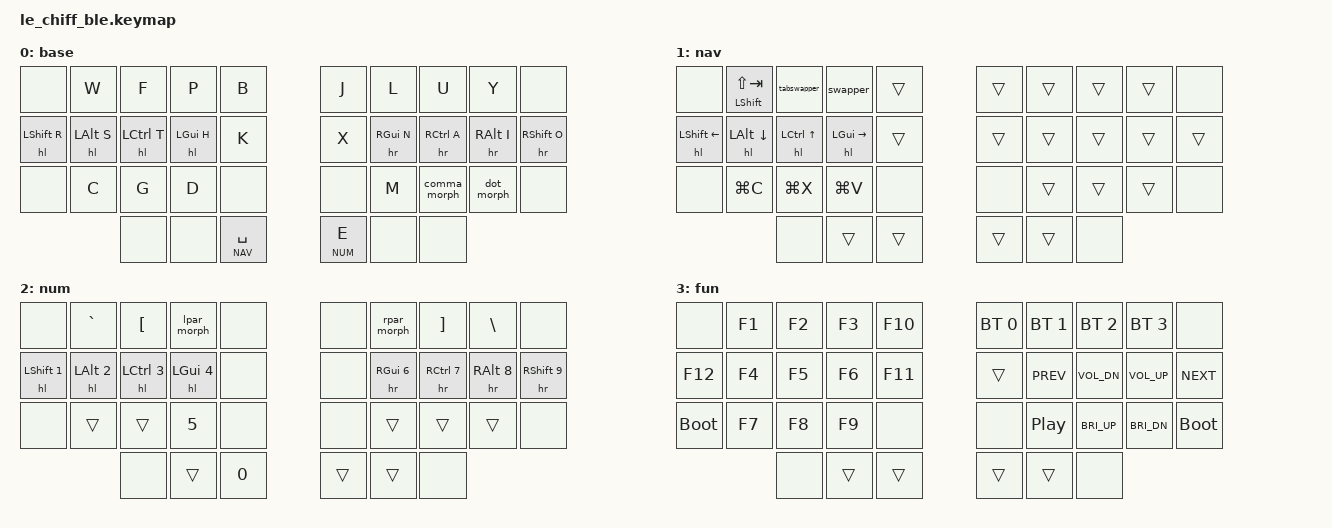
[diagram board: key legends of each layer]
// Copyright (c) 2022 The ZMK Contributors
// SPDX-License-Identifier: MIT

#include <behaviors.dtsi>
#include <dt-bindings/zmk/bt.h>
#include <dt-bindings/zmk/keys.h>
#include <dt-bindings/zmk/outputs.h>

#include <behaviors/num_word.dtsi>

#include "zmk-helpers/helper.h"
#include "zmk-helpers/key-labels/34.h"

#define XXX &none
#define ___ &trans

/* Layer mapping */
#define APT  0
#define NAV  1
#define NUM  2
#define NROW  2
#define FUN  3


/* Global defaults */
#define QUICK_TAP_MS 175

&sk {
  release-after-ms = <900>;
  quick-release;
};

&sl { // Allow sticky mods to chord across sticky layers.
  ignore-modifiers;
};

&lt {
  flavor = "balanced";
  tapping-term-ms = <200>;
  quick-tap-ms = <QUICK_TAP_MS>;
};

/* Custom behaviors */
ZMK_CONDITIONAL_LAYER(function, NUM  NAV, FUN)

// Alt+Tab swapper, requires tri-state module.
ZMK_TRI_STATE(swapper, bindings = <&kt LGUI>, <&kp TAB>, <&kt LGUI>;
              ignored-key-positions = <LT3 LM1 LM2 LM3 LM4>;)

ZMK_TRI_STATE(tabswapper, bindings = <&kt LCTL>, <&kp TAB>, <&kt LCTL>;
              ignored-key-positions = <LT3 LM1 LM2 LM3 LM4>;)


// Define mod-morph with a *single* mod trigger for less repetition.
#define SIMPLE_MORPH(NAME, MOD, BINDING1, BINDING2)                            \
  ZMK_MOD_MORPH(NAME, mods = <(MOD_L##MOD | MOD_R##MOD)>;                      \
                bindings = <BINDING1>, <BINDING2>;)

// Tap: comma | Shift + tap: semicolon
SIMPLE_MORPH(comma_morph, SFT, &kp COMMA, &kp SEMICOLON)
// Tap: period | Shift + tap: colon
SIMPLE_MORPH(dot_morph, SFT, &kp DOT, &kp COLON)

// Tap: parentheses | Shift + tap: angle bracket
SIMPLE_MORPH(lpar_morph, SFT, &kp LPAR, &kp LT)
SIMPLE_MORPH(rpar_morph, SFT, &kp RPAR, &kp GT)

// Tap: backspace | Shift + tap: delete
SIMPLE_MORPH(bksp_del, SFT, &kp BACKSPACE, &kp DELETE)

SIMPLE_MORPH(smart_shift, SFT, &sk LSHIFT, &caps_word)

/* Macros */
ZMK_MACRO(qu,
  bindings = <&kp Q &kp U>;
)

ZMK_MACRO(wq,
  bindings = <&kp W &kp Q>;
)
/* Homerow mods */
#define KEYS_L LT0 LT1 LT2 LT3 LM0 LM1 LM2 LM3 LM4 LB1 LB2 LB3 LB4
#define KEYS_R RT0 RT1 RT2 RT3 RM0 RM1 RM2 RM3 RM4 RB1 RB2 RB3 RB4
#define THUMBS LH1 LH0 RH0 RH1

#define MAKE_HRM(NAME, HOLD, TAP, TRIGGER_POS)                                 \
  ZMK_HOLD_TAP(NAME, bindings = <HOLD>, <TAP>; flavor = "balanced";            \
               tapping-term-ms = <270>; quick-tap-ms = <QUICK_TAP_MS>;         \
               require-prior-idle-ms = <150>; hold-trigger-on-release;         \
               hold-trigger-key-positions = <TRIGGER_POS>;)

MAKE_HRM(hl, &kp, &kp, KEYS_R THUMBS) // Left-hand HRMs.
MAKE_HRM(hr, &kp, &kp, KEYS_L THUMBS) // Right-hand HRMs.

// Hack: Make HRM combos tap-only (cf, ZMK issue #544).
#define ZMK_COMBO_8(NAME, TAP, POS, LAYERS, COMBO_MS, IDLE_MS, HOLD, SIDE)     \
  MAKE_HRM(hm_combo_##NAME, &kp, TAP, SIDE THUMBS)                             \
  ZMK_COMBO_6(NAME, &hm_combo_##NAME HOLD 0, POS, LAYERS, COMBO_MS, IDLE_MS)

/* Combos */

#include "combos.dtsi" // Must be sourced after HRM-combo hack.

ZMK_LAYER(base,
     // ╭─────────────┬─────────────┬─────────────┬─────────────┬─────────────╮   ╭─────────────┬─────────────┬─────────────┬─────────────┬─────────────╮
          XXX          &kp W         &kp F         &kp P          &kp B             &kp J         &kp L         &kp U         &kp Y          XXX
     // ├─────────────┼─────────────┼─────────────┼─────────────┼─────────────┤   ├─────────────┼─────────────┼─────────────┼─────────────┼─────────────┤
          &hl LSHFT R   &hl LALT S    &hl LCTRL T   &hl LGUI H    &kp K             &kp X         &hr RGUI N    &hr RCTRL A   &hr RALT I    &hr RSHFT O
     // ├─────────────┼─────────────┼─────────────┼─────────────┼─────────────╯   ╰─────────────┼─────────────┼─────────────┼─────────────┼─────────────┤
          XXX           &kp C         &kp G         &kp D         XXX               XXX           &kp M         &comma_morph  &dot_morph    XXX
     // ╰─────────────┼─────────────┼─────────────┼─────────────┼─────────────╮   ╭─────────────┼─────────────┼─────────────┼─────────────┼─────────────╯
                                      XXX           XXX           &lt NAV SPACE     &lt NUM  E    XXX           XXX
     //                                           ╰─────────────┴─────────────╯   ╰─────────────┴─────────────╯
)

ZMK_LAYER(nav,
//  ╭─────────────┬─────────────┬─────────────┬─────────────┬─────────────╮   ╭─────────────┬─────────────┬─────────────┬─────────────┬─────────────╮
      XXX     &mt LSHIFT LS(TAB)  &tabswapper   &swapper      ___               ___           ___           ___           ___           XXX
//  ├─────────────┼─────────────┼─────────────┼─────────────┼─────────────┤   ├─────────────┼─────────────┼─────────────┼─────────────┼─────────────┤
      &hl LSHIFT LEFT &hl LALT DOWN &hl LCTL UP   &hl LGUI RIGHT ___            ___           ___           ___           ___           ___
//  ╰─────────────┼─────────────┼─────────────┼─────────────┼─────────────╯   ╰─────────────┼─────────────┼─────────────┼─────────────┼─────────────╯
      XXX           &kp LG(C)     &kp LG(X)     &kp LG(V)     XXX               XXX          ___            ___           ___            XXX
//                ╰─────────────┼─────────────┼─────────────┼─────────────╮   ╭─────────────┼─────────────┼─────────────┼─────────────╯
                                  XXX           ___           ___               ___           ___           XXX
//                                            ╰─────────────┴─────────────╯   ╰─────────────┴─────────────╯
)

ZMK_LAYER(num,
//  ╭─────────────┬─────────────┬─────────────┬─────────────┬─────────────╮   ╭─────────────┬─────────────┬─────────────┬─────────────┬─────────────╮
      XXX           &kp GRAVE     &kp LBKT      &lpar_morph   XXX               XXX           &rpar_morph   &kp RBKT      &kp BSLH      XXX
//  ├─────────────┼─────────────┼─────────────┼─────────────┼─────────────┤   ├─────────────┼─────────────┼─────────────┼─────────────┼─────────────┤
      &hl LSHFT N1  &hl LALT N2   &hl LCTRL N3  &hl LGUI N4   XXX               XXX           &hr RGUI N6   &hr RCTRL N7  &hr RALT N8   &hr RSHFT N9
//  ╰─────────────┼─────────────┼─────────────┼─────────────┼─────────────╯   ╰─────────────┼─────────────┼─────────────┼─────────────┼─────────────╯
      XXX           ___           ___           &kp N5        XXX               XXX           ___           ___           ___           XXX
//                ╰─────────────┼─────────────┼─────────────┼─────────────╮   ╭─────────────┼─────────────┼─────────────┼─────────────╯
                                  XXX           ___           &kp N0            ___           ___           XXX
//                                            ╰─────────────┴─────────────╯   ╰─────────────┴─────────────╯
)
ZMK_LAYER(fun,
     //               ╭─────────────┬─────────────┬─────────────┬─────────────╮   ╭─────────────┬─────────────┬─────────────┬─────────────╮
          XXX           &kp F1        &kp F2        &kp F3        &kp F10           &bt BT_SEL 0  &bt BT_SEL 1  &bt BT_SEL 2  &bt BT_SEL 3  XXX
     // ╭─────────────┼─────────────┼─────────────┼─────────────┼─────────────┤   ├─────────────┼─────────────┼─────────────┼─────────────┼─────────────╮
          &kp F12       &kp F4        &kp F5        &kp F6        &kp F11           ___           &kp C_PREV    &kp C_VOL_DN  &kp C_VOL_UP  &kp C_NEXT
     // ├─────────────┼─────────────┼─────────────┼─────────────┼─────────────╯   ╰─────────────┼─────────────┼─────────────┼─────────────┼─────────────┤
          &bootloader   &kp F7        &kp F8        &kp F9        XXX               XXX           &kp C_PP      &kp C_BRI_UP  &kp C_BRI_DN  &bootloader
     // ╰─────────────┼─────────────┼─────────────┼─────────────┼─────────────╮   ╭─────────────┼─────────────┼─────────────┼─────────────┼─────────────╯
                                      XXX           ___           ___               ___           ___           XXX
     //                                           ╰─────────────┴─────────────╯   ╰─────────────┴─────────────╯
)
